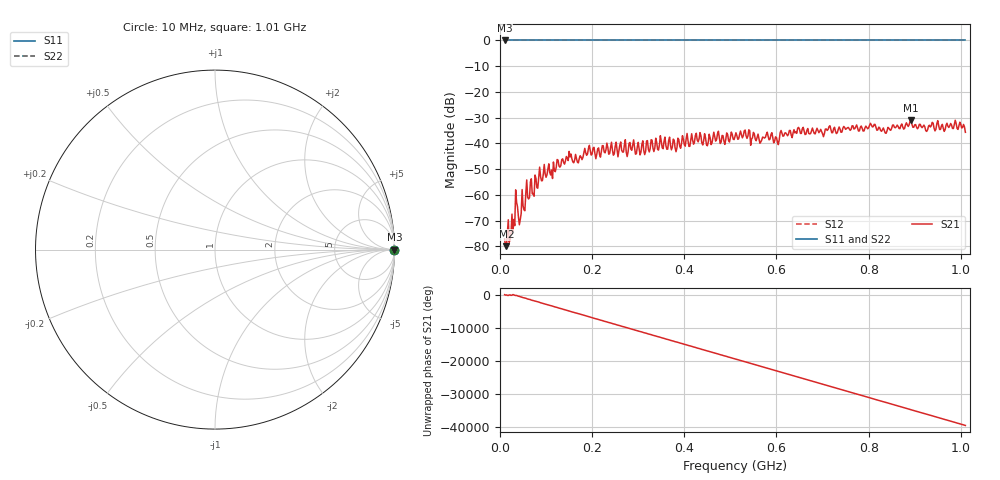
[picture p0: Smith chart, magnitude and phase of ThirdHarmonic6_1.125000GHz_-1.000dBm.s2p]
! 8/16/2025 10:52:39 AM
! C:\ANRITSUVNA\TEMP\TEMP.S2P
! CHANNEL.1
! TR.MEASUREMENT
! RAW.DATA
! RF.CORRECTION.OFF
! AVERAGING.OFF
! IF.BANDWIDTH: 5KHZ
! SWEEPTYPE:  FREQ.SWEEP(Linear)
! Reference Plane Port Info
! PORT:  PORT1  PORT2
! DISTANCE:  0  m  0  m
! TIME:  0  s  0  s
! PHASE.OFFSET:  0  deg.  0  deg.
! LOSS:  0  dB  0  dB
! REF.LOSS:  0  dB  0  dB
! REF.FREQ:  0  Hz  0  Hz
! Power Info
! POWER:  -20  dBm  -20  dBm
! EFF.POWER:  -20  dBm  -20  dBm
! SOURCE.ATTEN:  0  dB  0  dB
! TEST.ATTEN:  0  dB  0  dB
# GHZ S RI R 50.0
! FREQ.GHZ  S11RE  S11IM  S21RE  S21IM  S12RE  S12IM  S22RE  S22IM
!; PortSelection: Port_12
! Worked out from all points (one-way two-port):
!   501 points, 10 MHz to 1.01 GHz, reference 50 ohm
!   highest |S21| = -30.97 dB at 892 MHz (marker M1); lowest = -79.9 dB at 14 MHz (marker M2)
!   lowest |S11| = 0.0 dB at 10 MHz (marker M3)
!   |S11| at or under -10 dB: nowhere
!   |S22| runs from 0.0 to 0.0 dB; largest |S21 - S12| = 1
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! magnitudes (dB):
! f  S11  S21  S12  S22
! 10 MHz  0.0  -77.1  0.0  0.0
! 14 MHz  0.0  -79.9  0.0  0.0
! 24 MHz  0.0  -74.9  0.0  0.0
! 34 MHz  0.0  -58.0  0.0  0.0
! 38 MHz  0.0  -64.6  0.0  0.0
! 42 MHz  0.0  -71.6  0.0  0.0
! 62 MHz  0.0  -61.6  0.0  0.0
! 88 MHz  0.0  -52.8  0.0  0.0
! 150 MHz  0.0  -43.1  0.0  0.0
! 178 MHz  0.0  -46.3  0.0  0.0
! 192 MHz  0.0  -41.9  0.0  0.0
! 344 MHz  0.0  -42.6  0.0  0.0
! 510 MHz  0.0  -37.3  0.0  0.0
! 600 MHz  0.0  -37.7  0.0  0.0
! 612 MHz  0.0  -36.1  0.0  0.0
! 678 MHz  0.0  -34.0  0.0  0.0
! 808 MHz  0.0  -33.6  0.0  0.0
! 844 MHz  0.0  -34.1  0.0  0.0
! 892 MHz  0.0  -31.0  0.0  0.0
! 926 MHz  0.0  -35.3  0.0  0.0
! 1.002 GHz  0.0  -34.0  0.0  0.0
! 1.01 GHz  0.0  -35.7  0.0  0.0
